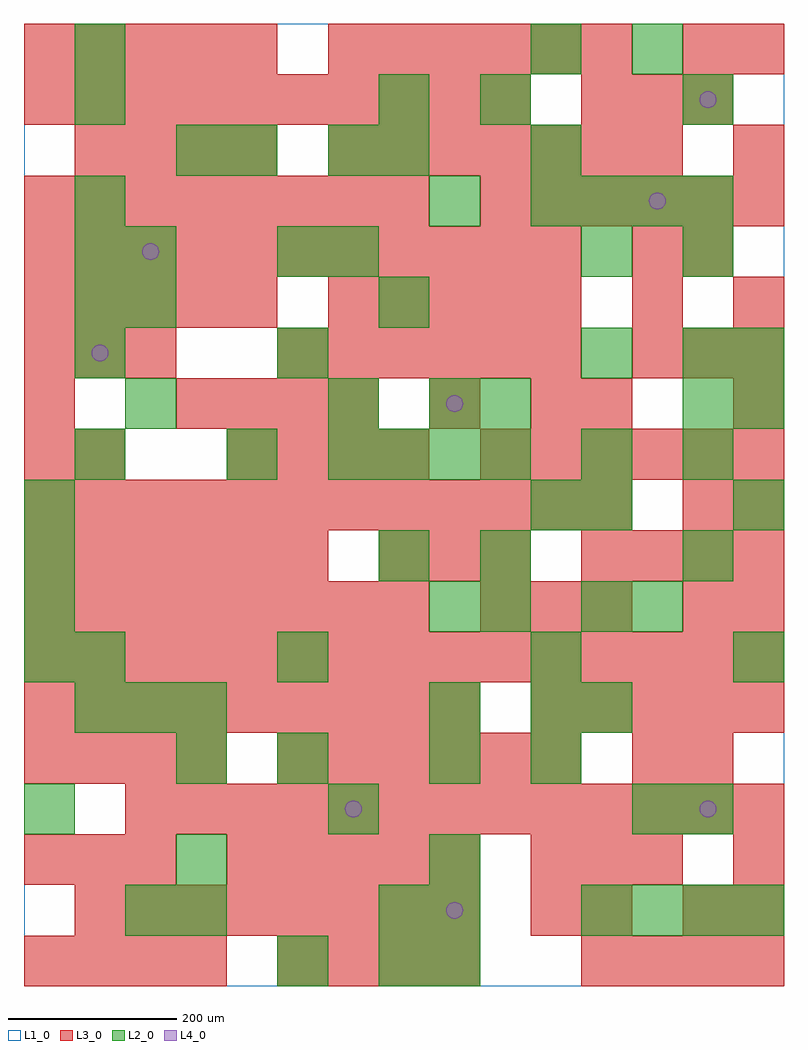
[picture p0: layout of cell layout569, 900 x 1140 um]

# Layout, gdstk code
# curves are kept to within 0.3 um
import gdstk
lib = gdstk.Library(unit=1e-6, precision=1e-09)
def R(c, l, rs):  # rectangles x0, y0, x1, y1
    for r in rs: c.add(gdstk.rectangle(r[:2], r[2:], *l))
def A(c, l, x, y, w, h, nx, ny, dx, dy):  # array of equal rectangles
    R(c, l, [(x+i*dx, y+j*dy, x+i*dx+w, y+j*dy+h) for i in range(nx) for j in range(ny)])
def P(c, l, *ps):  # polygons
    for p in ps: c.add(gdstk.Polygon(p, *l))
L1_0 = (1, 0)
L2_0 = (2, 0)
L3_0 = (3, 0)
L4_0 = (4, 0)

layout569 = lib.new_cell('layout569')
R(layout569, L1_0, [(0,0,900,1140)])
A(layout569, L2_0, 480, 0, 60, 60, 1, 3, 0, 60)
A(layout569, L2_0, 660, 60, 60, 60, 4, 1, 60, 0)
A(layout569, L2_0, 0, 180, 60, 60, 3, 1, 360, 0)
A(layout569, L2_0, 600, 240, 60, 60, 1, 3, 0, 60)
A(layout569, L2_0, 60, 300, 60, 60, 3, 1, 60, 0)
A(layout569, L2_0, 660, 300, 60, 60, 1, 3, 0, 120)
A(layout569, L2_0, 0, 360, 60, 60, 1, 4, 0, 60)
A(layout569, L2_0, 480, 420, 60, 60, 1, 3, 0, 240)
A(layout569, L2_0, 360, 600, 60, 60, 4, 1, 60, 0)
A(layout569, L2_0, 660, 600, 60, 60, 1, 3, 0, 120)
A(layout569, L2_0, 780, 600, 60, 60, 1, 3, 0, 60)
A(layout569, L2_0, 60, 720, 60, 60, 1, 4, 0, 60)
A(layout569, L2_0, 600, 900, 60, 60, 4, 1, 60, 0)
R(layout569, L2_0, [(300,0,360,60), (420,0,480,60), (120,60,180,120), (180,60,240,120), (420,60,480,120), (180,120,240,180), (780,180,840,240), (180,240,240,300), (300,240,360,300), (480,240,540,300), (480,300,540,360), (60,360,120,420), (300,360,360,420), (840,360,900,420), (540,420,600,480), (720,420,780,480), (420,480,480,540), (540,480,600,540), (780,480,840,540), (600,540,660,600), (840,540,900,600), (60,600,120,660), (240,600,300,660), (120,660,180,720), (360,660,420,720), (540,660,600,720), (840,660,900,720), (300,720,360,780), (840,720,900,780), (120,780,180,840), (420,780,480,840), (120,840,180,900), (300,840,360,900), (360,840,420,900), (780,840,840,900), (180,960,240,1020), (240,960,300,1020), (360,960,420,1020), (420,960,480,1020), (600,960,660,1020), (60,1020,120,1080), (420,1020,480,1080), (540,1020,600,1080), (780,1020,840,1080), (60,1080,120,1140), (600,1080,660,1140), (720,1080,780,1140)])
A(layout569, L3_0, 0, 0, 60, 60, 4, 2, 60, 240)
A(layout569, L3_0, 300, 0, 60, 60, 4, 1, 60, 0)
A(layout569, L3_0, 660, 0, 60, 60, 4, 2, 60, 480)
A(layout569, L3_0, 60, 60, 60, 60, 8, 1, 60, 0)
A(layout569, L3_0, 780, 60, 60, 60, 1, 3, 0, 180)
A(layout569, L3_0, 0, 120, 60, 60, 3, 2, 60, 600)
A(layout569, L3_0, 240, 120, 60, 60, 5, 1, 60, 0)
A(layout569, L3_0, 600, 120, 60, 60, 3, 1, 60, 0)
A(layout569, L3_0, 120, 180, 60, 60, 13, 1, 60, 0)
A(layout569, L3_0, 300, 240, 60, 60, 6, 2, 60, 480)
A(layout569, L3_0, 0, 300, 60, 60, 9, 1, 60, 0)
A(layout569, L3_0, 600, 300, 60, 60, 5, 1, 60, 0)
A(layout569, L3_0, 0, 360, 60, 60, 15, 1, 60, 0)
A(layout569, L3_0, 0, 420, 60, 60, 8, 2, 60, 480)
A(layout569, L3_0, 540, 420, 60, 60, 3, 1, 60, 0)
A(layout569, L3_0, 840, 420, 60, 60, 1, 4, 0, 120)
A(layout569, L3_0, 0, 480, 60, 60, 6, 1, 60, 0)
A(layout569, L3_0, 420, 480, 60, 60, 3, 1, 60, 0)
A(layout569, L3_0, 0, 540, 60, 60, 12, 1, 60, 0)
A(layout569, L3_0, 240, 600, 60, 60, 4, 1, 60, 0)
A(layout569, L3_0, 540, 600, 60, 60, 6, 2, 60, 300)
A(layout569, L3_0, 180, 660, 60, 60, 4, 1, 60, 0)
A(layout569, L3_0, 720, 720, 60, 60, 3, 1, 60, 0)
A(layout569, L3_0, 0, 780, 60, 60, 5, 2, 60, 300)
A(layout569, L3_0, 360, 780, 60, 60, 5, 1, 60, 0)
A(layout569, L3_0, 0, 840, 60, 60, 11, 1, 60, 0)
A(layout569, L3_0, 60, 960, 60, 60, 4, 1, 60, 0)
A(layout569, L3_0, 360, 960, 60, 60, 7, 1, 60, 0)
A(layout569, L3_0, 0, 1020, 60, 60, 10, 1, 60, 0)
A(layout569, L3_0, 660, 1020, 60, 60, 3, 1, 60, 0)
A(layout569, L3_0, 360, 1080, 60, 60, 6, 1, 60, 0)
R(layout569, L3_0, [(600,60,660,120), (660,60,720,120), (840,60,900,120), (840,120,900,180), (720,240,780,300), (780,540,840,600), (0,600,60,660), (60,600,120,660), (0,660,60,720), (480,660,540,720), (600,660,660,720), (660,660,720,720), (720,780,780,840), (720,840,780,900), (780,840,840,900), (840,960,900,1020), (780,1080,840,1140), (840,1080,900,1140)])
P(layout569, L4_0, [(100,750),(99.239,753.827),(97.071,757.071),(93.827,759.239),(90,760),(86.173,759.239),(82.929,757.071),(80.761,753.827),(80,750),(80.761,746.173),(82.929,742.929),(86.173,740.761),(90,740),(93.827,740.761),(97.071,742.929),(99.239,746.173)],
  [(160,870),(159.239,873.827),(157.071,877.071),(153.827,879.239),(150,880),(146.173,879.239),(142.929,877.071),(140.761,873.827),(140,870),(140.761,866.173),(142.929,862.929),(146.173,860.761),(150,860),(153.827,860.761),(157.071,862.929),(159.239,866.173)],
  [(400,210),(399.239,213.827),(397.071,217.071),(393.827,219.239),(390,220),(386.173,219.239),(382.929,217.071),(380.761,213.827),(380,210),(380.761,206.173),(382.929,202.929),(386.173,200.761),(390,200),(393.827,200.761),(397.071,202.929),(399.239,206.173)],
  [(520,90),(519.239,93.827),(517.071,97.071),(513.827,99.239),(510,100),(506.173,99.239),(502.929,97.071),(500.761,93.827),(500,90),(500.761,86.173),(502.929,82.929),(506.173,80.761),(510,80),(513.827,80.761),(517.071,82.929),(519.239,86.173)],
  [(520,690),(519.239,693.827),(517.071,697.071),(513.827,699.239),(510,700),(506.173,699.239),(502.929,697.071),(500.761,693.827),(500,690),(500.761,686.173),(502.929,682.929),(506.173,680.761),(510,680),(513.827,680.761),(517.071,682.929),(519.239,686.173)],
  [(760,930),(759.239,933.827),(757.071,937.071),(753.827,939.239),(750,940),(746.173,939.239),(742.929,937.071),(740.761,933.827),(740,930),(740.761,926.173),(742.929,922.929),(746.173,920.761),(750,920),(753.827,920.761),(757.071,922.929),(759.239,926.173)],
  [(820,210),(819.239,213.827),(817.071,217.071),(813.827,219.239),(810,220),(806.173,219.239),(802.929,217.071),(800.761,213.827),(800,210),(800.761,206.173),(802.929,202.929),(806.173,200.761),(810,200),(813.827,200.761),(817.071,202.929),(819.239,206.173)],
  [(820,1050),(819.239,1053.827),(817.071,1057.071),(813.827,1059.239),(810,1060),(806.173,1059.239),(802.929,1057.071),(800.761,1053.827),(800,1050),(800.761,1046.173),(802.929,1042.929),(806.173,1040.761),(810,1040),(813.827,1040.761),(817.071,1042.929),(819.239,1046.173)])

lib.write_gds('layout569.gds')
